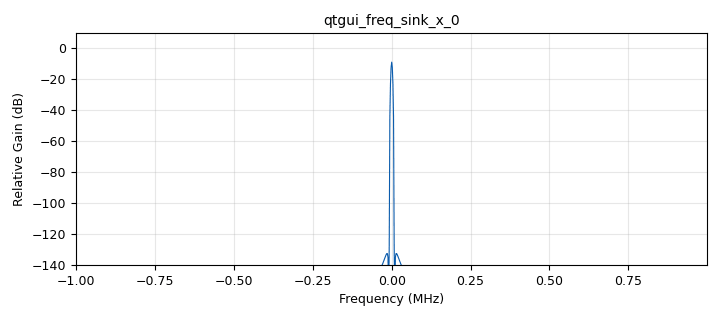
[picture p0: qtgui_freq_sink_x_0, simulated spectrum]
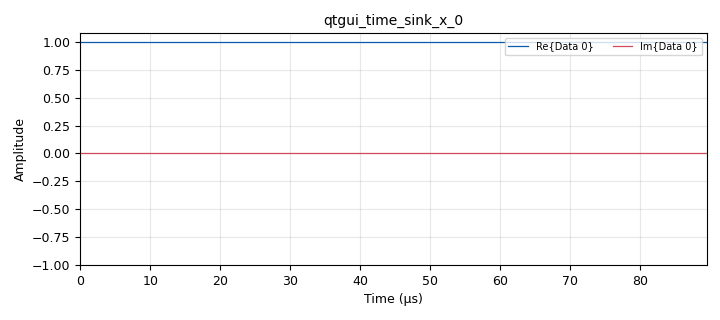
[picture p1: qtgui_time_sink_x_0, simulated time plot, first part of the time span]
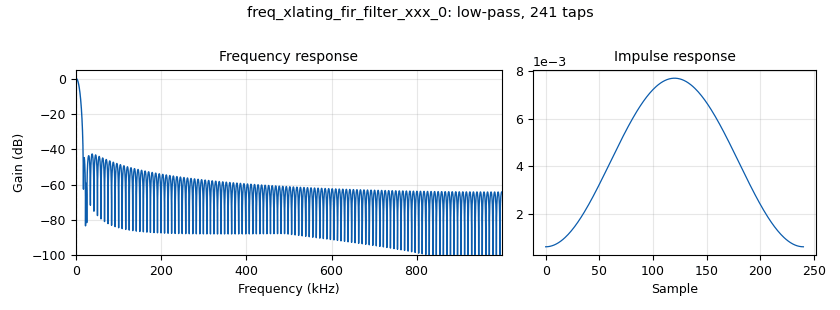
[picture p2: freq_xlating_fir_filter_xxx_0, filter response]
options:
  parameters:
    author: jkita
    generate_options: qt_gui
    id: lpf_FIR_example
    output_language: python
    title: Not titled yet
  states: {}

blocks:
- name: boxcar_filter
  id: variable
  parameters:
    value: np.ones(8)/8
  states: {state: disabled}
- name: cutoff_freq
  id: variable_qtgui_range
  parameters:
    gui_hint: 1,0
    start: '10'
    step: '1'
    stop: samp_rate
    value: '10'
  states: {}
- name: freq
  id: variable_qtgui_range
  parameters:
    gui_hint: 1,1
    start: '0'
    step: '100'
    stop: samp_rate
    value: '0'
  states: {}
- name: low_pass_filter_taps
  id: variable_low_pass_filter_taps
  parameters:
    cutoff_freq: cutoff_freq
    gain: '1.0'
    samp_rate: samp_rate
    width: 20e3
    win: window.WIN_HAMMING
  states: {}
- name: samp_rate
  id: variable
  parameters:
    value: 2e6
  states: {}
- name: analog_sig_source_x_0
  id: analog_sig_source_x
  parameters:
    amp: '1'
    freq: freq
    offset: '0'
    phase: '0'
    samp_rate: samp_rate
    type: complex
    waveform: analog.GR_COS_WAVE
  states: {}
- name: blocks_throttle_0
  id: blocks_throttle
  parameters:
    samples_per_second: samp_rate
    type: complex
  states: {}
- name: freq_xlating_fir_filter_xxx_0
  id: freq_xlating_fir_filter_xxx
  parameters:
    center_freq: '0'
    decim: '1'
    samp_rate: samp_rate
    taps: low_pass_filter_taps
    type: ccc
  states: {}
- name: freq_xlating_fir_filter_xxx_0_0
  id: freq_xlating_fir_filter_xxx
  parameters:
    center_freq: '0'
    decim: '1'
    samp_rate: samp_rate
    taps: boxcar_filter
    type: ccc
  states: {state: disabled}
- name: import_0
  id: import
  parameters:
    imports: import numpy as np
  states: {state: disabled}
- name: low_pass_filter_0
  id: low_pass_filter
  parameters:
    cutoff_freq: cutoff_freq
    decim: '1'
    gain: '1'
    samp_rate: samp_rate
    type: fir_filter_ccf
    width: 20e3
    win: window.WIN_HAMMING
  states: {state: disabled}
- name: qtgui_freq_sink_x_0
  id: qtgui_freq_sink_x
  parameters:
    bw: samp_rate
    ctrlpanel: 'True'
    fc: '0'
    fftsize: '1024'
    grid: 'True'
    gui_hint: 0,0
    type: complex
  states: {}
- name: qtgui_time_sink_x_0
  id: qtgui_time_sink_x
  parameters:
    ctrlpanel: 'True'
    grid: 'True'
    gui_hint: 0,1
    size: '1024'
    srate: samp_rate
    type: complex
  states: {}

connections:
- [analog_sig_source_x_0, '0', freq_xlating_fir_filter_xxx_0, '0']
- [analog_sig_source_x_0, '0', freq_xlating_fir_filter_xxx_0_0, '0']
- [analog_sig_source_x_0, '0', low_pass_filter_0, '0']
- [blocks_throttle_0, '0', qtgui_freq_sink_x_0, '0']
- [blocks_throttle_0, '0', qtgui_time_sink_x_0, '0']
- [freq_xlating_fir_filter_xxx_0, '0', blocks_throttle_0, '0']
- [freq_xlating_fir_filter_xxx_0_0, '0', blocks_throttle_0, '0']
- [low_pass_filter_0, '0', blocks_throttle_0, '0']

metadata:
  file_format: 1
  grc_version: 3.10.5.1
